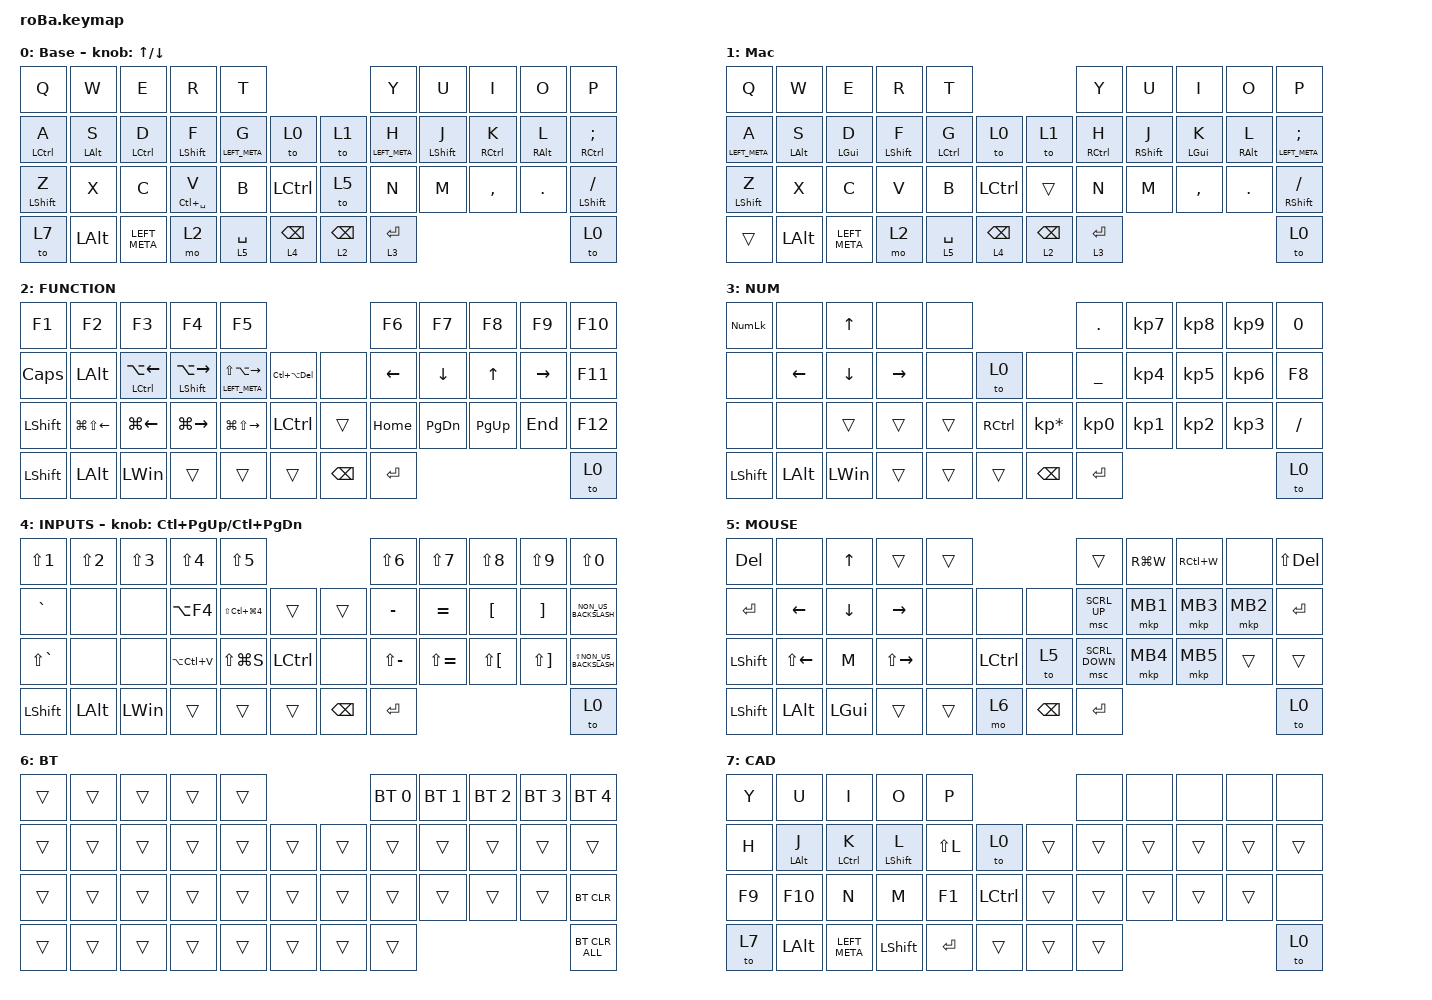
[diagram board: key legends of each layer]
#include <behaviors.dtsi>
#include <dt-bindings/zmk/bt.h>
#include <dt-bindings/zmk/keys.h>
#include <dt-bindings/zmk/pointing.h>

#define MOUSE 4
#define SCROLL 5
#define NUM 6

&mt {
    flavor = "balanced";
    quick-tap-ms = <0>;
};

/ {
    combos {
        compatible = "zmk,combos";

        tab {
            bindings = <&kp TAB>;
            key-positions = <11 12>;
        };

        shift_tab {
            bindings = <&kp LS(TAB)>;
            key-positions = <23 24>;
        };

        esc1 {
            bindings = <&kp ESCAPE>;
            key-positions = <1 2>;
        };

        minus {
            bindings = <&kp MINUS>;
            key-positions = <19 20>;
        };

        quote {
            bindings = <&kp SQT>;
            key-positions = <31 32>;
        };

        moji {
            bindings = <&kp LC(SPACE)>;
            key-positions = <12 13>;
        };

        bs {
            bindings = <&kp BACKSPACE>;
            key-positions = <7 8>;
        };

        moji2 {
            bindings = <&kp LC(SPACE)>;
            key-positions = <25 24>;
        };

        mb3 {
            bindings = <&mkp MB3>;
            key-positions = <34 42>;
        };

        eq {
            bindings = <&kp EQUAL>;
            key-positions = <18 19>;
        };

        plus {
            bindings = <&kp LS(EQUAL)>;
            key-positions = <30 31>;
        };
    };

    macros {
        to_layer_0: to_layer_0 {
            compatible = "zmk,behavior-macro-one-param";
            #binding-cells = <1>;
            bindings = <&to 0 &macro_param_1to1 &kp MACRO_PLACEHOLDER>;
            label = "TO_LAYER_0";
        };
    };

    behaviors {
        lt_to_layer_0: lt_to_layer_0 {
            compatible = "zmk,behavior-hold-tap";
            label = "LAYER_TAP_TO_0";
            bindings = <&mo>, <&to_layer_0>;

            #binding-cells = <2>;
            tapping-term-ms = <200>;
        };
    };

    keymap {
        compatible = "zmk,keymap";

        Base {
            bindings = <
&kp Q         &kp W           &kp E          &kp R             &kp T                                                             &kp Y                   &kp U             &kp I        &kp O            &kp P
&mt LCTRL A   &mt LEFT_ALT S  &mt LCTRL D    &mt LEFT_SHIFT F  &mt LEFT_META G  &to 0                           &to 1            &mt LEFT_META H         &mt LEFT_SHIFT J  &mt RCTRL K  &mt RIGHT_ALT L  &mt RCTRL SEMICOLON
&mt LSHIFT Z  &kp X           &kp C          &mt LC(SPACE) V   &kp B            &kp LCTRL                       &to 5            &kp N                   &kp M             &kp COMMA    &kp DOT          &mt LEFT_SHIFT SLASH
&to 7         &kp LEFT_ALT    &kp LEFT_META  &mo 2             &lt 5 SPACE      &lt_to_layer_0 4 BACKSPACE      &lt 2 BACKSPACE  &lt_to_layer_0 3 ENTER                                                  &to 0
            >;

            sensor-bindings = <&inc_dec_kp UP_ARROW DOWN_ARROW>;
        };

        Mac {
            bindings = <
&kp Q             &kp W           &kp E           &kp R             &kp T                                              &kp Y        &kp U         &kp I           &kp O            &kp P
&mt LEFT_META A   &mt LEFT_ALT S  &mt LEFT_GUI D  &mt LEFT_SHIFT F  &mt LCTRL G  &to 0                &to 1            &mt RCTRL H  &mt RSHIFT J  &mt LEFT_GUI K  &mt RIGHT_ALT L  &mt LEFT_META SEMICOLON
&mt LEFT_SHIFT Z  &kp X           &kp C           &kp V             &kp B        &kp LCTRL            &trans           &kp N        &kp M         &kp COMMA       &kp DOT          &mt RIGHT_SHIFT SLASH
&trans            &kp LEFT_ALT    &kp LEFT_META   &mo 2             &lt 5 SPACE  &lt 4 BACKSPACE      &lt 2 BACKSPACE  &lt 3 ENTER                                                 &to 0
            >;
        };

        FUNCTION {
            bindings = <
&kp F1          &kp F2                  &kp F3                    &kp F4                          &kp F5                                                                    &kp F6          &kp F7          &kp F8        &kp F9           &kp F10
&kp CAPS        &kp LEFT_ALT            &mt LCTRL LA(LEFT_ARROW)  &mt LEFT_SHIFT LA(RIGHT_ARROW)  &mt LEFT_META LS(LA(RIGHT_ARROW))  &kp LC(LA(DELETE))      &none          &kp LEFT_ARROW  &kp DOWN_ARROW  &kp UP_ARROW  &kp RIGHT_ARROW  &kp F11
&kp LEFT_SHIFT  &kp LG(LS(LEFT_ARROW))  &kp LG(LEFT_ARROW)        &kp LG(RIGHT_ARROW)             &kp LG(LS(RIGHT_ARROW))            &kp LCTRL               &trans         &kp HOME        &kp PG_DN       &kp PAGE_UP   &kp END          &kp F12
&kp LEFT_SHIFT  &kp LEFT_ALT            &kp LEFT_WIN              &trans                          &trans                             &trans                  &kp BACKSPACE  &kp RETURN                                                     &to 0
            >;
        };

        NUM {
            bindings = <
&kp KP_NUMLOCK  &none           &kp UP_ARROW    &none            &none                                   &kp PERIOD       &kp KP_NUMBER_7  &kp KP_NUMBER_8  &kp KP_NUMBER_9  &kp NUMBER_0
&none           &kp LEFT_ARROW  &kp DOWN_ARROW  &kp RIGHT_ARROW  &none   &to 0          &none            &kp UNDERSCORE   &kp KP_NUMBER_4  &kp KP_NUMBER_5  &kp KP_NUMBER_6  &kp F8
&none           &none           &trans          &trans           &trans  &kp RCTRL      &kp KP_MULTIPLY  &kp KP_NUMBER_0  &kp KP_NUMBER_1  &kp KP_NUMBER_2  &kp KP_NUMBER_3  &kp SLASH
&kp LEFT_SHIFT  &kp LEFT_ALT    &kp LEFT_WIN    &trans           &trans  &trans         &kp BACKSPACE    &kp ENTER                                                           &to 0
            >;
        };

        INPUTS {
            bindings = <
&kp LS(NUMBER_1)  &kp LS(NUMBER_2)  &kp LS(NUMBER_3)  &kp LS(NUMBER_4)  &kp LS(NUMBER_5)                                        &kp LS(NUMBER_6)  &kp LS(NUMBER_7)  &kp LS(NUMBER_8)      &kp LS(NUMBER_9)       &kp LS(NUMBER_0)
&kp GRAVE         &none             &none             &kp LA(F4)        &kp LS(LC(LG(NUMBER_4)))  &trans         &trans         &kp MINUS         &kp EQUAL         &kp LEFT_BRACKET      &kp RIGHT_BRACKET      &kp NON_US_BACKSLASH
&kp LS(GRAVE)     &none             &none             &kp LA(LC(V))     &kp LS(LG(S))             &kp LCTRL      &none          &kp LS(MINUS)     &kp LS(EQUAL)     &kp LS(LEFT_BRACKET)  &kp LS(RIGHT_BRACKET)  &kp LS(NON_US_BACKSLASH)
&kp LEFT_SHIFT    &kp LEFT_ALT      &kp LEFT_WIN      &trans            &trans                    &trans         &kp BACKSPACE  &kp RETURN                                                                       &to 0
            >;

            sensor-bindings = <&inc_dec_kp LC(PAGE_UP) LC(PAGE_DOWN)>;
        };

        MOUSE {
            bindings = <
&kp DELETE      &none               &kp UP_ARROW    &trans               &trans                                &trans          &kp RG(W)  &kp RC(W)  &none     &kp LS(DEL)
&kp ENTER       &kp LEFT_ARROW      &kp DOWN_ARROW  &kp RIGHT_ARROW      &none   &none          &none          &msc SCRL_UP    &mkp MB1   &mkp MB3   &mkp MB2  &kp RETURN
&kp LSHFT       &kp LS(LEFT_ARROW)  &kp M           &kp LS(RIGHT_ARROW)  &none   &kp LCTRL      &to 5          &msc SCRL_DOWN  &mkp MB4   &mkp MB5   &trans    &trans
&kp LEFT_SHIFT  &kp LEFT_ALT        &kp LEFT_GUI    &trans               &trans  &mo 6          &kp BACKSPACE  &kp RETURN                                      &to 0
            >;
        };

        BT {
            bindings = <
&trans  &trans  &trans  &trans  &trans                      &bt BT_SEL 0  &bt BT_SEL 1  &bt BT_SEL 2  &bt BT_SEL 3  &bt BT_SEL 4
&trans  &trans  &trans  &trans  &trans  &trans      &trans  &trans        &trans        &trans        &trans        &trans
&trans  &trans  &trans  &trans  &trans  &trans      &trans  &trans        &trans        &trans        &trans        &bt BT_CLR
&trans  &trans  &trans  &trans  &trans  &trans      &trans  &trans                                                  &bt BT_CLR_ALL
            >;
        };

        CAD {
            bindings = <
&kp Y   &kp U           &kp I          &kp O             &kp P                             &none   &none   &none   &none   &none
&kp H   &mt LEFT_ALT J  &mt LCTRL K    &mt LEFT_SHIFT L  &kp LS(L)  &to 0          &trans  &trans  &trans  &trans  &trans  &trans
&kp F9  &kp F10         &kp N          &kp M             &kp F1     &kp LCTRL      &trans  &trans  &trans  &trans  &trans  &none
&to 7   &kp LEFT_ALT    &kp LEFT_META  &kp LEFT_SHIFT    &kp RET    &trans         &trans  &trans                          &to 0
            >;
        };
    };
};
